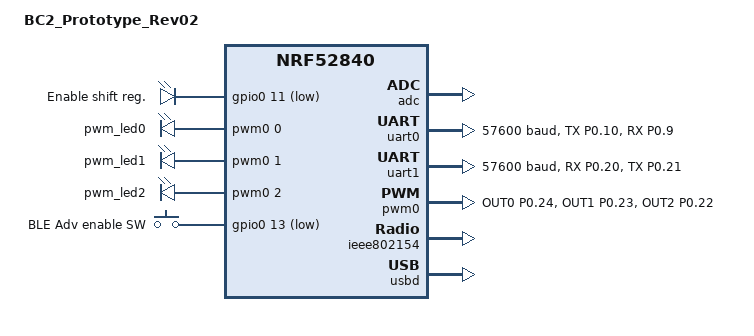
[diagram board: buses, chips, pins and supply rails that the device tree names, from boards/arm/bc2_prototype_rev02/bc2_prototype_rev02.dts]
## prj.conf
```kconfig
#
# Copyright (c) 2016 Intel Corporation
#
# SPDX-License-Identifier: Apache-2.0
#
CONFIG_BT=y

CONFIG_BT_EXT_ADV=y
CONFIG_BT_CTLR_ADV_DATA_LEN_MAX=190


# Enable Security Management Protocol
CONFIG_BT_SMP=y
CONFIG_BT_SMP_APP_PAIRING_ACCEPT=y

# STEP 1.1 Add setting configurations to allow flash handling
CONFIG_SETTINGS=y
CONFIG_BT_SETTINGS=y
CONFIG_FLASH=y
CONFIG_FLASH_PAGE_LAYOUT=y
CONFIG_FLASH_MAP=y
CONFIG_NVS=y

CONFIG_BT_PRIVACY=y
CONFIG_BT_RPA_TIMEOUT=900


CONFIG_BT_DEVICE_NAME="Broadcaster Multiple"

CONFIG_BT_DEBUG_LOG=y
CONFIG_BT_PERIPHERAL=y

# Zephyr Bluetooth LE Controller will need to use chain PDUs when AD data
# length > 191 bytes
# - 31 bytes will use 22 bytes for the default name in this sample plus 9 bytes
#   for manufacturer data
# - 191 bytes will use 22 bytes for the default name in this sample plus 169
#   bytes for manufacturer data
# - 277 bytes will use 22 bytes for the default name in this sample plus 255
#   bytes for manufacturer data



# Increase Advertising PDU buffers to number of advertising sets times the
# number of chain PDUs per advertising set when using Zephyr Bluetooth LE
# Controller
# CONFIG_BT_CTLR_ADVANCED_FEATURES=y
# CONFIG_BT_CTLR_ADV_DATA_BUF_MAX=2
```

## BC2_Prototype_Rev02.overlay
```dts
/*
 * Copyright (c) 2020 Intel Corporation
 *
 * SPDX-License-Identifier: Apache-2.0
 */

 / {    
        spibb0: spibb0 {
            compatible = "zephyr,spi-bitbang";
            status="okay";
            #address-cells = <1>;
            #size-cells = <0>;
            clk-gpios = <&gpio1 9 GPIO_ACTIVE_HIGH>;
            mosi-gpios = <&gpio1 8 GPIO_ACTIVE_HIGH>;
            miso-gpios = <&gpio1 10 0>;
            cs-gpios = <&gpio1 11 GPIO_ACTIVE_LOW>;
        };
    };


// &pinctrl {
//     uart0_default: uart0_default {
//         group1 {
//             psels = <NRF_PSEL(UART_TX, 0, 6)>;  //10
//         };
//         group2 {
//             psels = <NRF_PSEL(UART_RX, 0, 8)>; //9
//             bias-pull-up;
//         };
//     };

//     uart0_sleep: uart0_sleep {
//         group1 {
//             psels = <NRF_PSEL(UART_TX,0, 6)>, 
//                 <NRF_PSEL(UART_RX, 0, 8)>;
//             low-power-enable;
//         };
//     };
// };
```

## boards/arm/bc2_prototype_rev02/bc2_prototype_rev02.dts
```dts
// Copyright (c) 2023 Nordic Semiconductor ASA
// SPDX-License-Identifier: Apache-2.0
// modified 2023-09-28 10:28

/dts-v1/;
#include <nordic/nrf52840_qiaa.dtsi>

&pinctrl {
	uart0_default: uart0_default {
		group1 {
			psels = <NRF_PSEL(UART_TX, 0, 10)>;
		};
		group2 {
			psels = <NRF_PSEL(UART_RX, 0, 9)>;
			bias-pull-up;
		};
	};

	uart0_sleep: uart0_sleep {
		group1 {
			psels = <NRF_PSEL(UART_TX,0, 10)>, 
				<NRF_PSEL(UART_RX, 0, 9)>;
			low-power-enable;
		};
	};

	uart1_default: uart1_default {
		group1 {
			psels = <NRF_PSEL(UART_RX, 0, 20)>;
			bias-pull-up;
		};
		group2 {
			psels = <NRF_PSEL(UART_TX, 0, 21)>;
		};
	};

	uart1_sleep: uart1_sleep {
		group1 {
			psels = <NRF_PSEL(UART_RX, 0, 20)>,
					<NRF_PSEL(UART_TX, 0, 21)>;
			low-power-enable;
		};
	};

    pwm0_default: pwm0_default {
        group1 {
            psels = < NRF_PSEL(PWM_OUT0, 0, 24) >,	// RED
                    < NRF_PSEL(PWM_OUT1, 0, 23) >,	// GREEN
                    < NRF_PSEL(PWM_OUT2, 0, 22) >;	// BLUE
                    nordic,invert;
        };       
    };
	
    pwm0_sleep: pwm0_sleep {
        group1 {
            psels = < NRF_PSEL(PWM_OUT0, 0, 24) >,
                    < NRF_PSEL(PWM_OUT1, 0, 23) >,
                    < NRF_PSEL(PWM_OUT2, 0, 22) >;
                    low-power-enable;
        };
	};

};

/ {
	model = "BC2_Prototype_Rev02";
	compatible = "stihl,bc2-prototype-rev02";

	chosen {
		zephyr,console = &uart0;
		zephyr,shell-uart = &uart0;
		zephyr,uart-mcumgr = &uart0;
		zephyr,bt-mon-uart = &uart0;
		zephyr,bt-c2h-uart = &uart0;
		zephyr,sram = &sram0;
		zephyr,flash = &flash0;
		zephyr,code-partition = &slot0_partition;
		zephyr,ieee802154 = &ieee802154;
	};

	outputs {
		compatible = "gpio-leds";
		enable_spi: enable_spi {
			gpios = <&gpio0 11 GPIO_ACTIVE_LOW>;
			label = "Enable shift reg.";
		};
	};

	pwmleds {
        compatible = "pwm-leds";
        pwm_led0: pwm_led_0 {
            pwms = <&pwm0 0 PWM_MSEC(1) PWM_POLARITY_NORMAL>; // 0 - channel
        };
        pwm_led1: pwm_led_1{
            pwms = <&pwm0 1 PWM_MSEC(1) PWM_POLARITY_NORMAL>; // 1 - channel label = "MOTOR DRIVE 2";
        };
        pwm_led2: pwm_led_2{
            pwms = <&pwm0 2 PWM_MSEC(1) PWM_POLARITY_NORMAL>; // 1 - channel label = "MOTOR DRIVE 2";
        };
    };

    buttons {
        compatible = "gpio-keys";
        button0: button_0 {
            gpios = < &gpio0 13 (GPIO_PULL_UP | GPIO_ACTIVE_LOW) >;
            label = "BLE Adv enable SW";
        };
	};

	/* These aliases are provided for compatibility with samples */
	aliases {
		enable-spi = &enable_spi;
        pwm-led0 = &pwm_led0;
        pwm-led1 = &pwm_led1;
        pwm-led2 = &pwm_led2;
		sw0 = &button0;
				// bootloader-led0 = &led0;
		// mcuboot-button0 = &button0;
		// mcuboot-led0 = &led0;
		watchdog0 = &wdt0;
		// uart0 = &uart0;
		// uart1 = &uart1;		
		// spi-flash0 = &mx25r64;	//qspi
	};
};

&adc {
	status = "okay";
};

&gpiote {
	status = "okay";
};

&gpio0 {
	status = "okay";
};

&gpio1 {
	status = "okay";
};

&uart0 {
	compatible = "nordic,nrf-uarte";
	status = "okay";
	current-speed = <57600>;
	pinctrl-0 = <&uart0_default>;
	pinctrl-1 = <&uart0_sleep>;
	pinctrl-names = "default", "sleep";
};

&uart1 {
    compatible = "nordic,nrf-uarte";
    status = "okay";
    current-speed = <57600>;
    pinctrl-0 = <&uart1_default>;
    pinctrl-1 = <&uart1_sleep>;
    pinctrl-names = "default", "sleep";
};

&pwm0 {
    compatible = "nordic,nrf-pwm";
    reg = <0x4001c000 0x1000>;
    interrupts = <28 NRF_DEFAULT_IRQ_PRIORITY>; status = "okay";
    #pwm-cells = <3>;
    pinctrl-0 = <&pwm0_default>;
    pinctrl-1 = <&pwm0_sleep>;
    pinctrl-names = "default", "sleep";
};

&ieee802154 {
	status = "okay";
};

&flash0 {

	partitions {
		compatible = "fixed-partitions";
		#address-cells = <1>;
		#size-cells = <1>;

		boot_partition: partition@0 {
			label = "mcuboot";
			reg = <0x00000000 0x0000C000>;
		};
		slot0_partition: partition@c000 {
			label = "image-0";
			reg = <0x0000C000 0x00076000>;
		};
		slot1_partition: partition@82000 {
			label = "image-1";
			reg = <0x00082000 0x00076000>;
		};

		/*
		 * The flash starting at 0x000f8000 and ending at
		 * 0x000fffff is reserved for use by the application.
		 */

		/*
		 * Storage partition will be used by FCB/LittleFS/NVS
		 * if enabled.
		 */
		storage_partition: partition@f8000 {
			label = "storage";
			reg = <0x000f8000 0x00008000>;
		};
	};
}; 

zephyr_udc0: &usbd {
	compatible = "nordic,nrf-usbd";
	status = "okay";
};
```

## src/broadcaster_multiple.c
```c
/*
 * Copyright (c) 2022 Nordic Semiconductor ASA
 *
 * SPDX-License-Identifier: Apache-2.0
 */

#include <zephyr/sys/printk.h>
#include <zephyr/bluetooth/bluetooth.h>
#include <zephyr/settings/settings.h>


/* Maximum supported AD data length, use a value supported by the Controller,
 * Bluetooth Core Specification define minimum of 31 bytes will be supported by
 * all Controllers, can be a maximum of 1650 bytes when supported.
 */
#if defined(CONFIG_BT_CTLR_ADV_DATA_LEN_MAX)
#define BT_AD_DATA_LEN_MAX CONFIG_BT_CTLR_ADV_DATA_LEN_MAX
#else
#define BT_AD_DATA_LEN_MAX 31U
#endif


#define APPLICATION_ADV_MANU_COMPANY_ID             0x03DD /**< STIHL company ID */ 
#define APPLICATION_ADV_INCOMP_16B_UUID             0xFE43 /**< STIHL SUOTA service */ 
#define APPLICATION_SW_VERSION_LOW                   06 
#define APPLICATION_SW_VERSION_HIGH                  01 
#define APPLICATION_PROTOCOL_ID                      0x06
#define APPLICATION_PRODUCT_ID                       0x05
#define ADV_PROTOCOL_ID_POS                          11
#define ADV_PRODUCT_ID_POS                           12
#define ADV_SERIAL_NUMBER_LOW_POS                    13
#define ADV_BMS_INFO_1_POS                           18
#define ADV_BMS_INFO_2_POS                           19
#define ADV_RUNTIME_DISCHARGE_COUNTER_LOW_POS        20
#define ADV_STORAGE_INFO_POS                         24
#define ADV_BATTERY_CONNECTOR_INFO_1_POS             25
#define ADV_LATEST_TOOL_ID_1_POS                     26
#define ADV_LATEST_TOOL_ID_2_POS                     27
#define ADV_SOC_POS                                  28
#define ADV_BC_SW_VERSION_LOW_POS                    29
#define ADV_BC_SW_VERSION_HIGH_POS                   30

/* Static advertising data */
#define ADV_PROTOCOL_ID_DAT                          0x06
#define ADV_BC_SW_VERSION_LOW_DAT                    APPLICATION_SW_VERSION_LOW
#define ADV_BC_SW_VERSION_HIGH_DAT                   APPLICATION_SW_VERSION_HIGH
#define ADV_INTERVAL_FAST                            APPLICATION_ADV_INTERVAL_FAST
#define ADV_INTERVAL_SLOW                            APPLICATION_ADV_INTERVAL_SLOW
#define SHORT_KEY_EVENT_TIMEOUT_S                    15U

#define FLASH_HW_VERSION_DATA                        0x10001084  /**< Address of HW version data 32bit aligned */
#define HW_VERSION_LOW_BYTE_POS                      2U
#define HW_VERSION_HIGH_BYTE_POS                     3U


/* Size of AD data format length field in octets */
#define BT_AD_DATA_FORMAT_LEN_SIZE 1U

/* Size of AD data format type field in octets */
#define BT_AD_DATA_FORMAT_TYPE_SIZE 1U

/* Maximum value of AD data format length field (8-bit) */
#define BT_AD_DATA_FORMAT_LEN_MAX 255U

/* Device name length, size minus one null character */
#define BT_DEVICE_NAME_LEN (sizeof(CONFIG_BT_DEVICE_NAME) - 1U)

/* Device name length in AD data format, 2 bytes for length and type overhead */
#define BT_DEVICE_NAME_AD_DATA_LEN (BT_AD_DATA_FORMAT_LEN_SIZE + BT_AD_DATA_FORMAT_TYPE_SIZE + BT_DEVICE_NAME_LEN)

/* Maximum manufacturer data length, considering ad data format overhead and
 * the included device name in ad data format.
 */
#define BT_MFG_DATA_LEN_MAX       (MIN((BT_AD_DATA_FORMAT_LEN_MAX - BT_AD_DATA_FORMAT_TYPE_SIZE), (BT_AD_DATA_LEN_MAX -	BT_AD_DATA_FORMAT_LEN_SIZE - BT_AD_DATA_FORMAT_TYPE_SIZE)))
#define BT_MFG_DATA_LEN           (MIN(BT_MFG_DATA_LEN_MAX, (BT_AD_DATA_LEN_MAX - BT_AD_DATA_FORMAT_LEN_SIZE - BT_AD_DATA_FORMAT_TYPE_SIZE - BT_DEVICE_NAME_AD_DATA_LEN)))


static uint8_t mfg_data[BT_MFG_DATA_LEN] = { 0xFF, 0xEE, 0xf1,0xef,0xf2,0xf5,0xf9,0xfd,0x00,0x04,0x09,
											0x0b,0x0f,0x12,0x15,0x17,0x18,0x1a,0x1a,0x1a,0x19,0x17,0x16,
											0x14,0x11,0x10,0x0e,0x0c,0x0a,0x08,0x06,0x05,0x03,0x01,0x00,
											0xfd,0xfc,0xfa,0xf9,0xf7,0xf5,0xf4,0xf3,0xf1,0xef,0xf3,0xf6,
											0xfa,0xfd,0x02,0x06,0x09,0x0e,0x10,0x14,0x14,0x17,0x19,0x19,
											0x1a,0x1a,0x19,0x17,0x15,0x13,0x11,0x0f,0x0d,0x0c,0x09,0x08,
											0x06,0x03,0x02,0x00,0xff,0xfd,0xfb,0xf9,0xf8,0xf6,0xf5,0xf3,
											0xf2,0xf0,0xf0,0xf4,0xf8,0xfc,0x00,0x04,0x07,0x0b,0x0e,0x11,
											0x13,0x16,0x18,0x19,0x1a,0x1b,0x19,0x18,0x17,0x15,0x13,0x11,
											0x0f,0x0d,0x0b,0x09,0x07,0x05,0x03,0x02,0x00,0xfe,0xfd,0xfb,
											0xf9,0xf8,0xf6,0xf5,0xf3,0xf1,0xf0,0xf2,0xf5,0xf9,0xfd,0x00,
											0x05,0x08,0x0b,0x10,0x12,0x15,0x17,0x19,0x19,0x1a,0x1a,0x19,
											0x18,0x16,0x14,0x12,0x10,0x0e,0x0c,0x0a,0x09,0x07};

static const struct bt_data ad[] = {
	BT_DATA(BT_DATA_MANUFACTURER_DATA, mfg_data, sizeof(mfg_data)),
};

static uint8_t manufacture_data[40] = {0};

static void Adv_handler_set_mdata(void);

static struct bt_le_ext_adv *adv;

int broadcaster_multiple(void)
{
	struct bt_le_adv_param adv_param = {
		.id = BT_ID_DEFAULT,
		.sid = 0U, /* Supply unique SID when creating advertising set */
		.secondary_max_skip = 0U,
		.options = (BT_LE_ADV_OPT_EXT_ADV | BT_LE_ADV_OPT_CONNECTABLE | BT_LE_ADV_OPT_USE_NAME),
		.interval_min = 1600,
		.interval_max = 1602,
		.peer = NULL,
	};
    Adv_handler_set_mdata();
	/* Initialize the Bluetooth Subsystem */
    memcpy(mfg_data, manufacture_data, 40);
	bt_enable(NULL);

	settings_load();
	/* Create a non-connectable non-scannable advertising set */
	bt_le_ext_adv_create(&adv_param, NULL, &adv);

	/* Set extended advertising data */
	bt_le_ext_adv_set_data(adv, ad, ARRAY_SIZE(ad), NULL, 0);

	/* Start extended advertising set */
	bt_le_ext_adv_start(adv, BT_LE_EXT_ADV_START_DEFAULT);

	printk("Started Extended Advertising.\n");

	return 0;
}


static void Adv_handler_set_mdata(void)
{
    printk("Adv_handler_set_mdata entered..\n");
    bt_addr_le_t macAddr[CONFIG_BT_ID_MAX];
    size_t count = ARRAY_SIZE(macAddr);

    /* getting MAC addr. */
    bt_id_get(macAddr, &count);


    /* Hardcoding manufacture Data to the Adv data structure */
    manufacture_data[0] = (uint8_t) (APPLICATION_ADV_MANU_COMPANY_ID);      //§Byte 9  //  company identifier low byte
    manufacture_data[1] = (uint8_t) (APPLICATION_ADV_MANU_COMPANY_ID >> 8); //§Byte 10 //  company identifier high byte

    manufacture_data[2] = (uint8_t) APPLICATION_PROTOCOL_ID;                //§Byte 11 // protocol identifier
    manufacture_data[3] = (uint8_t) APPLICATION_PRODUCT_ID;                 //§Byte 12 // product  identifier

    /* Battery Pack Serial Number */ //914701445--> 0x36853C85 --> 0x85, 0x3C, 0x85, 0x36
    /* fake Battery Pack Serial Number */ //914701445--> 0x368591A2 --> 0xA2, 0x91, 0x85, 0x36
    
    manufacture_data[4] = (uint8_t) 0x85;                                   //§Byte 13 // serial number - lowest byte
    manufacture_data[5] = (uint8_t) 0x3C;                                   //§Byte 14 // serial number 
    manufacture_data[6] = (uint8_t) 0x85;                                   //§Byte 15 // serial number
    manufacture_data[7] = (uint8_t) 0x36;                                   //§Byte 16 // serial number
    manufacture_data[8] = (uint8_t) 0x00;                                   //§Byte 17 // serial number - highest byte

    // Test function to change and test BMS Operation Mode using Button-4
    // uint8_t bms_mode = Test_getBMSMode();
    // Test bms different modes of operation set via Button-4 press
    // manufacture_data[9]  = (uint8_t) bms_mode;                            //§Byte 18 // BMS Operation Mode 

    manufacture_data[9]  = (uint8_t) 0x02;                                   //§Byte 18 // BMS Operation Mode 
    manufacture_data[10] = (uint8_t) 0x60;                                   //§Byte 19 // State of Health (set to 100% for test purposes)
    manufacture_data[11] = (uint8_t) 0x00;                                   //§Byte 20 // |
    manufacture_data[12] = (uint8_t) 0x00;                                   //§Byte 21 // | BATTERY Runtime
    manufacture_data[13] = (uint8_t) 0x00;                                   //§Byte 22 // | discharge counter value
    manufacture_data[14] = (uint8_t) 0x00;                                   //§Byte 23 // | 

    manufacture_data[15] = (uint8_t) 0x00;                                   //§Byte 24 // Battery History data
    manufacture_data[16] = (uint8_t) 0x00;                                   //§Byte 25 // Battery Connector Status Data
    manufacture_data[17] = (uint8_t) 0xB4;                                   //§Byte 26 // Latest Tool ID 1
    manufacture_data[18] = (uint8_t) 0x00;                                   //§Byte 27 // Latest Tool ID 2
    manufacture_data[19] = (uint8_t) 0x64;                                   //§Byte 28 // SoC - State of Charge ( set to 100% for test purposes)
    manufacture_data[20] = (uint8_t) 0xff;             //§Byte 29 // BC SW Version Low  Byte
    manufacture_data[21] = (uint8_t) 0xdd;            //§Byte 30 // BC SW Version High Byte
}
```
